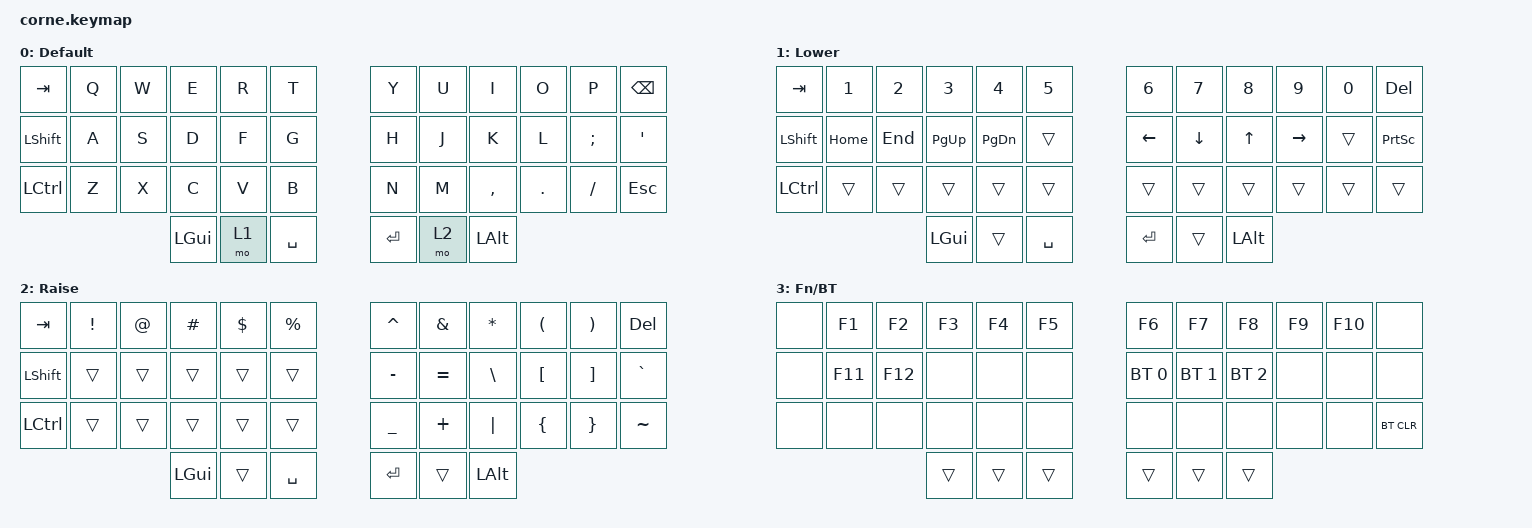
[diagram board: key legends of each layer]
/*
 * Copyright (c) 2020 The ZMK Contributors
 *
 * SPDX-License-Identifier: MIT
 */

#include <behaviors.dtsi>
#include <dt-bindings/zmk/keys.h>
#include <dt-bindings/zmk/bt.h>

/ {
        conditional_layers {
                compatible = "zmk,conditional-layers";
                tri_layer {
                        if-layers = <1 2>;
                        then-layer = <3>;
                };
        };

        keymap {
                compatible = "zmk,keymap";

                default_layer {
                        display-name = "Default";
// -----------------------------------------------------------------------------------------
// |  TAB |  Q  |  W  |  E  |  R  |  T  |   |  Y  |  U  |  I  |  O  |  P  | BSPC |
// | SHFT |  A  |  S  |  D  |  F  |  G  |   |  H  |  J  |  K  |  L  |  ;  |  '   |
// | CTRL |  Z  |  X  |  C  |  V  |  B  |   |  N  |  M  |  ,  |  .  |  /  | ESC  |
//                    | GUI | LWR | SPC |   | ENT | RSE | ALT |
                        bindings = <
   &kp TAB   &kp Q &kp W &kp E &kp R &kp T   &kp Y &kp U  &kp I     &kp O   &kp P    &kp BSPC
   &kp LSHFT &kp A &kp S &kp D &kp F &kp G   &kp H &kp J  &kp K     &kp L   &kp SEMI &kp SQT
   &kp LCTRL &kp Z &kp X &kp C &kp V &kp B   &kp N &kp M  &kp COMMA &kp DOT &kp FSLH &kp ESC
                  &kp LGUI &mo 1 &kp SPACE   &kp RET &mo 2 &kp LALT
                        >;
                };

                lower_layer {
                        display-name = "Lower";
// -----------------------------------------------------------------------------------------
// |  TAB |  1  |  2  |  3  |  4  |  5  |   |  6  |  7  |  8  |  9  |  0  | DEL  |
// | SHFT | HOME| END |PGUP |PGDN |     |   | LFT | DWN |  UP | RGT |     | PRSC |
// | CTRL |     |     |     |     |     |   |     |     |     |     |     |      |
//                    | GUI |     | SPC |   | ENT |     | ALT |
                        bindings = <
   &kp TAB   &kp N1   &kp N2  &kp N3    &kp N4    &kp N5   &kp N6   &kp N7   &kp N8 &kp N9    &kp N0  &kp DELETE
   &kp LSHFT &kp HOME &kp END &kp PG_UP &kp PG_DN &trans   &kp LEFT &kp DOWN &kp UP &kp RIGHT &trans  &kp PRINTSCREEN
   &kp LCTRL &trans   &trans  &trans    &trans    &trans   &trans   &trans   &trans &trans    &trans  &trans
                            &kp LGUI &trans &kp SPACE   &kp RET &trans &kp LALT
                        >;
                };

                raise_layer {
                        display-name = "Raise";
// -----------------------------------------------------------------------------------------
// |  TAB |  !  |  @  |  #  |  $  |  %  |   |  ^  |  &  |  *  |  (  |  )  | DEL |
// | SHFT |     |     |     |     |     |   |  -  |  =  |  \  |  [  |  ]  |  `   |
// | CTRL |     |     |     |     |     |   |  _  |  +  |  |  |  {  |  }  |  ~   |
//                    | GUI |     | SPC |   | ENT |     | ALT |
                        bindings = <
   &kp TAB   &kp EXCL &kp AT &kp HASH &kp DLLR &kp PRCNT   &kp CARET &kp AMPS  &kp ASTRK &kp LPAR &kp RPAR &kp DELETE
   &kp LSHFT &trans   &trans &trans   &trans   &trans       &kp MINUS &kp EQUAL &kp BSLH  &kp LBKT &kp RBKT &kp GRAVE
   &kp LCTRL &trans   &trans &trans   &trans   &trans       &kp UNDER &kp PLUS  &kp PIPE  &kp LBRC &kp RBRC &kp TILDE
                             &kp LGUI &trans &kp SPACE   &kp RET &trans &kp LALT
                        >;
                };

                fn_bt_layer {
                        display-name = "Fn/BT";
// -----------------------------------------------------------------------------------------
// |     |  F1 |  F2 |  F3 |  F4 |  F5 |   | F6  |  F7 |  F8 |  F9 | F10 |      |
// |     | F11 | F12 |     |     |     |   | BT0 | BT1 | BT2 |     |     |      |
// |     |     |     |     |     |     |   |     |     |     |     |     |BTCLR |
//                   |     |[LWR]|     |   |     |[RSE]|     |
                        bindings = <
   &none &kp F1  &kp F2  &kp F3 &kp F4 &kp F5  &kp F6       &kp F7       &kp F8       &kp F9 &kp F10 &none
   &none &kp F11 &kp F12 &none  &none  &none   &bt BT_SEL 0 &bt BT_SEL 1 &bt BT_SEL 2 &none  &none   &none
   &none  &none  &none   &none  &none  &none   &none        &none        &none        &none  &none  &bt BT_CLR
                        &trans &trans &trans   &trans &trans &trans
                        >;
                };
        };
};
